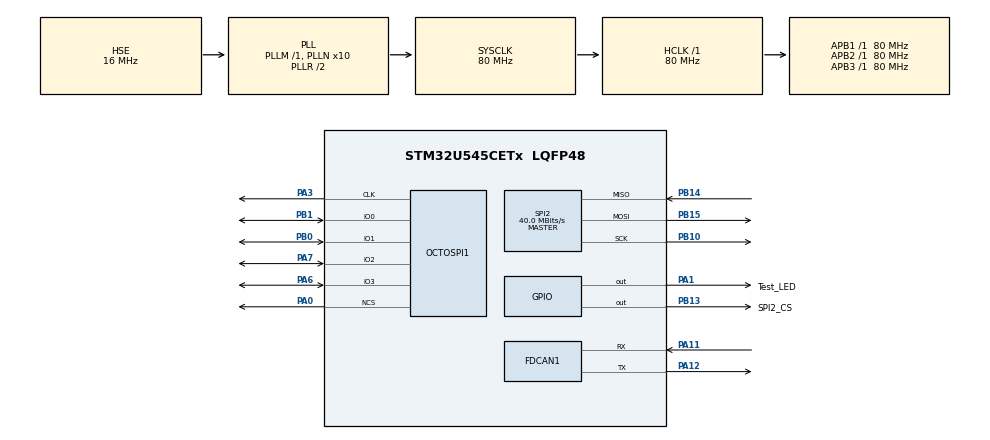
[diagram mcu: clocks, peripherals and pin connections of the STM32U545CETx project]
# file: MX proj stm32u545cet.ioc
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CORTEX_M33_NS.userName=CORTEX_M33
FDCAN1.CalculateBaudRateNominal=500000
FDCAN1.CalculateTimeBitNominal=2000
FDCAN1.CalculateTimeQuantumNominal=200.0
FDCAN1.NominalSyncJumpWidth=4
FDCAN1.NominalTimeSeg1=5
FDCAN1.NominalTimeSeg2=4
Mcu.Family=STM32U5
Mcu.Name=STM32U545CETx
Mcu.Package=LQFP48
NVIC.PriorityGroup=NVIC_PRIORITYGROUP_4
PA0.Mode=quad_mode
PA0.Signal=OCTOSPI1_NCS
PA1.GPIO_Label=Test_LED
PA1.Signal=GPIO_Output
PA11.Mode=FDCAN_Activate
PA11.Signal=FDCAN1_RX
PA12.Mode=FDCAN_Activate
PA12.Signal=FDCAN1_TX
PA13\ (JTMS/SWDIO).Mode=Trace_Asynchronous_SW
PA13\ (JTMS/SWDIO).Signal=DEBUG_JTMS-SWDIO
PA14\ (JTCK/SWCLK).Mode=Trace_Asynchronous_SW
PA14\ (JTCK/SWCLK).Signal=DEBUG_JTCK-SWCLK
PA3.Mode=quad_mode
PA3.Signal=OCTOSPI1_CLK
PA6.Mode=quad_mode
PA6.Signal=OCTOSPI1_IO3
PA7.Mode=quad_mode
PA7.Signal=OCTOSPI1_IO2
PB0.Mode=quad_mode
PB0.Signal=OCTOSPI1_IO1
PB1.Mode=quad_mode
PB1.Signal=OCTOSPI1_IO0
PB10.Mode=Full_Duplex_Master
PB10.Signal=SPI2_SCK
PB13.GPIO_Label=SPI2_CS
PB13.Signal=GPIO_Output
PB14.Mode=Full_Duplex_Master
PB14.Signal=SPI2_MISO
PB15.Mode=Full_Duplex_Master
PB15.Signal=SPI2_MOSI
PB3\ (JTDO/TRACESWO).Mode=Trace_Asynchronous_SW
PB3\ (JTDO/TRACESWO).Signal=DEBUG_JTDO-SWO
PH0-OSC_IN\ (PH0).Mode=HSE-External-Oscillator
PH0-OSC_IN\ (PH0).Signal=RCC_OSC_IN
PH1-OSC_OUT\ (PH1).Mode=HSE-External-Oscillator
PH1-OSC_OUT\ (PH1).Signal=RCC_OSC_OUT
ProjectManager.HeapSize=0x200
ProjectManager.StackSize=0x400
ProjectManager.TargetToolchain=STM32CubeIDE
RCC.ADCFreq_Value=16000000
RCC.AHBFreq_Value=80000000
RCC.APB1Freq_Value=80000000
RCC.APB1TimFreq_Value=80000000
RCC.APB2Freq_Value=80000000
RCC.APB2TimFreq_Value=80000000
RCC.APB3Freq_Value=80000000
RCC.CortexFreq_Value=80000000
RCC.DACCLockSelectionVirtual=RCC_DAC1CLKSOURCE_LSI
RCC.DACCLockSelectionVirtualString=RCC_DAC1CLKSOURCE_LSI
RCC.EPOD_VALUE=16000000
RCC.HCLKFreq_Value=80000000
RCC.HSE_VALUE=16000000
RCC.HSI48_VALUE=48000000
RCC.HSI_VALUE=16000000
RCC.LSE_VALUE=32768
RCC.LSIDIV_VALUE=32000
RCC.MSI_VALUE=4000000
RCC.PLLN=10
RCC.PLLSourceVirtual=RCC_PLLSOURCE_HSE
RCC.SYSCLKFreq_VALUE=80000000
RCC.SYSCLKSource=RCC_SYSCLKSOURCE_PLLCLK
RCC.USBFreq_Value=48000000
RCC.VCOOutputFreq_Value=160000000
SPI2.CalculateBaudRate=40.0 MBits/s
SPI2.Direction=SPI_DIRECTION_2LINES
SPI2.Mode=SPI_MODE_MASTER
SPI2.VirtualType=VM_MASTER
VP_LPBAMQUEUE_VS_QUEUE.Mode=QUEUEMODE
VP_LPBAM_VS_SIG1.Mode=SmartRun
VP_LPBAM_VS_SIG4.Mode=LPDMA1
VP_MEMORYMAP_VS_MEMORYMAP.Mode=CurAppReg
VP_PWR_VS_SECSignals.Mode=Security/Privilege
board=custom

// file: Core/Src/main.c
/* USER CODE BEGIN Header */
/**
  ******************************************************************************
  * @file           : main.c
  * @brief          : Main program body
  ******************************************************************************
  * @attention
  *
  * Copyright (c) 2026 STMicroelectronics.
  * All rights reserved.
  *
  * This software is licensed under terms that can be found in the LICENSE file
  * in the root directory of this software component.
  * If no LICENSE file comes with this software, it is provided AS-IS.
  *
  ******************************************************************************
  */
/* USER CODE END Header */
#include "main.h"

/* USER CODE BEGIN Includes */

#include <stdio.h>

/* USER CODE END Includes */

FDCAN_HandleTypeDef hfdcan1;

OSPI_HandleTypeDef hospi1;

SPI_HandleTypeDef hspi2;

/* USER CODE BEGIN PV */

volatile uint8_t fdcan1RxPending = 0U;
volatile uint32_t fdcan1RxCount = 0U;
volatile uint32_t fdcan1RxFifo0FillLevel = 0U;
FDCAN_RxHeaderTypeDef fdcan1RxHeader;
uint8_t fdcan1RxData[8];
FDCAN_ProtocolStatusTypeDef fdcan1ProtocolStatus;
FDCAN_ErrorCountersTypeDef fdcan1ErrorCounters;

/* USER CODE END PV */

void SystemClock_Config(void);
static void MX_GPIO_Init(void);
static void MX_OCTOSPI1_Init(void);
static void MX_SPI2_Init(void);
static void MX_FDCAN1_Init(void);
/* USER CODE BEGIN PFP */

static void FDCAN1_StartReception(void);
static uint32_t FDCAN_DlcToLength(uint32_t dlc);

/* USER CODE END PFP */

/* USER CODE BEGIN 0 */

int __io_putchar(int ch)
{
  if ((CoreDebug->DEMCR & CoreDebug_DEMCR_TRCENA_Msk) != 0U)
  {
    ITM_SendChar((uint32_t) ch);
  }

  return ch;
}

int _write(int file, char *ptr, int len)
{
  int i;

  (void)file;

  for (i = 0; i < len; i++)
  {
    __io_putchar(ptr[i]);
  }

  return len;
}

static uint32_t FDCAN_DlcToLength(uint32_t dlc)
{
  switch (dlc)
  {
    case FDCAN_DLC_BYTES_0:  return 0U;
    case FDCAN_DLC_BYTES_1:  return 1U;
    case FDCAN_DLC_BYTES_2:  return 2U;
    case FDCAN_DLC_BYTES_3:  return 3U;
    case FDCAN_DLC_BYTES_4:  return 4U;
    case FDCAN_DLC_BYTES_5:  return 5U;
    case FDCAN_DLC_BYTES_6:  return 6U;
    case FDCAN_DLC_BYTES_7:  return 7U;
    case FDCAN_DLC_BYTES_8:  return 8U;
    default:                 return 0U;
  }
}

static void FDCAN1_StartReception(void)
{
  if (HAL_FDCAN_ConfigGlobalFilter(&hfdcan1,
                                   FDCAN_ACCEPT_IN_RX_FIFO0,
                                   FDCAN_ACCEPT_IN_RX_FIFO0,
                                   FDCAN_REJECT_REMOTE,
                                   FDCAN_REJECT_REMOTE) != HAL_OK)
  {
    Error_Handler();
  }

  if (HAL_FDCAN_ConfigInterruptLines(&hfdcan1,
                                     FDCAN_IT_RX_FIFO0_NEW_MESSAGE,
                                     FDCAN_INTERRUPT_LINE0) != HAL_OK)
  {
    Error_Handler();
  }

  if (HAL_FDCAN_ActivateNotification(&hfdcan1,
                                     FDCAN_IT_RX_FIFO0_NEW_MESSAGE,
                                     0U) != HAL_OK)
  {
    Error_Handler();
  }

  if (HAL_FDCAN_Start(&hfdcan1) != HAL_OK)
  {
    Error_Handler();
  }
}

void HAL_FDCAN_RxFifo0Callback(FDCAN_HandleTypeDef *hfdcan, uint32_t RxFifo0ITs)
{
  if ((hfdcan->Instance == FDCAN1) && ((RxFifo0ITs & FDCAN_IT_RX_FIFO0_NEW_MESSAGE) != 0U))
  {
    if (HAL_FDCAN_GetRxMessage(hfdcan, FDCAN_RX_FIFO0, &fdcan1RxHeader, fdcan1RxData) == HAL_OK)
    {
      fdcan1RxCount++;
      fdcan1RxPending = 1U;
    }
  }
}

/* USER CODE END 0 */

int main(void)
{

  /* MCU Configuration--------------------------------------------------------*/

  /* Reset of all peripherals, Initializes the Flash interface and the Systick. */
  HAL_Init();

  /* Configure the system clock */
  SystemClock_Config();

  /* Initialize all configured peripherals */
  MX_GPIO_Init();
  MX_OCTOSPI1_Init();
  MX_SPI2_Init();
  MX_FDCAN1_Init();
  /* USER CODE BEGIN 2 */

  FDCAN1_StartReception();
  printf("SWV online, waiting for CAN frames...\r\n");
  //HAL_GPIO_TogglePin(Test_LED_GPIO_Port, Test_LED_Pin);
////  HAL_Delay(1000);
//  HAL_GPIO_TogglePin(Test_LED_GPIO_Port, Test_LED_Pin);
  /* USER CODE END 2 */

  /* Infinite loop */
  while (1)
  {

    /* USER CODE BEGIN 3 */
//	  HAL_GPIO_TogglePin(Test_LED_GPIO_Port, Test_LED_Pin);
//	    HAL_Delay(1000);
    fdcan1RxFifo0FillLevel = HAL_FDCAN_GetRxFifoFillLevel(&hfdcan1, FDCAN_RX_FIFO0);
    (void)HAL_FDCAN_GetProtocolStatus(&hfdcan1, &fdcan1ProtocolStatus);
    (void)HAL_FDCAN_GetErrorCounters(&hfdcan1, &fdcan1ErrorCounters);

    if (fdcan1RxFifo0FillLevel > 0U)
    {
      if (HAL_FDCAN_GetRxMessage(&hfdcan1, FDCAN_RX_FIFO0, &fdcan1RxHeader, fdcan1RxData) == HAL_OK)
      {
        fdcan1RxCount++;
        fdcan1RxPending = 1U;
      }
    }

    if (fdcan1RxPending != 0U)
    {
      uint32_t dataLength;
      uint32_t i;

      dataLength = FDCAN_DlcToLength(fdcan1RxHeader.DataLength);

      fdcan1RxPending = 0U;
      HAL_GPIO_TogglePin(Test_LED_GPIO_Port, Test_LED_Pin);

      if (fdcan1RxHeader.Identifier == 0x00000100) {

		  printf("CAN %s ID=0x%08lX LEN=%lu DATA=",
				 (fdcan1RxHeader.IdType == FDCAN_STANDARD_ID) ? "STD" : "EXT",
				 fdcan1RxHeader.Identifier,
				 dataLength);

		  for (i = 0U; i <= dataLength; i++)
		  {
			printf("%02X", fdcan1RxData[i]);

			if ((i + 1U) < dataLength)
			{
			  printf(" ");
			}
		  }

		  printf("\r\n");
      }
    }
  }
  /* USER CODE END 3 */
}

void SystemClock_Config(void)
{
  RCC_OscInitTypeDef RCC_OscInitStruct = {0};
  RCC_ClkInitTypeDef RCC_ClkInitStruct = {0};

  /** Configure the main internal regulator output voltage
  */
  if (HAL_PWREx_ControlVoltageScaling(PWR_REGULATOR_VOLTAGE_SCALE2) != HAL_OK)
  {
    Error_Handler();
  }

  /** Initializes the CPU, AHB and APB buses clocks
  */
  RCC_OscInitStruct.OscillatorType = RCC_OSCILLATORTYPE_HSE;
  RCC_OscInitStruct.HSEState = RCC_HSE_ON;
  RCC_OscInitStruct.PLL.PLLState = RCC_PLL_ON;
  RCC_OscInitStruct.PLL.PLLSource = RCC_PLLSOURCE_HSE;
  RCC_OscInitStruct.PLL.PLLMBOOST = RCC_PLLMBOOST_DIV1;
  RCC_OscInitStruct.PLL.PLLM = 1;
  RCC_OscInitStruct.PLL.PLLN = 10;
  RCC_OscInitStruct.PLL.PLLP = 2;
  RCC_OscInitStruct.PLL.PLLQ = 2;
  RCC_OscInitStruct.PLL.PLLR = 2;
  RCC_OscInitStruct.PLL.PLLRGE = RCC_PLLVCIRANGE_1;
  RCC_OscInitStruct.PLL.PLLFRACN = 0;
  if (HAL_RCC_OscConfig(&RCC_OscInitStruct) != HAL_OK)
  {
    Error_Handler();
  }

  /** Initializes the CPU, AHB and APB buses clocks
  */
  RCC_ClkInitStruct.ClockType = RCC_CLOCKTYPE_HCLK|RCC_CLOCKTYPE_SYSCLK
                              |RCC_CLOCKTYPE_PCLK1|RCC_CLOCKTYPE_PCLK2
                              |RCC_CLOCKTYPE_PCLK3;
  RCC_ClkInitStruct.SYSCLKSource = RCC_SYSCLKSOURCE_PLLCLK;
  RCC_ClkInitStruct.AHBCLKDivider = RCC_SYSCLK_DIV1;
  RCC_ClkInitStruct.APB1CLKDivider = RCC_HCLK_DIV1;
  RCC_ClkInitStruct.APB2CLKDivider = RCC_HCLK_DIV1;
  RCC_ClkInitStruct.APB3CLKDivider = RCC_HCLK_DIV1;

  if (HAL_RCC_ClockConfig(&RCC_ClkInitStruct, FLASH_LATENCY_2) != HAL_OK)
  {
    Error_Handler();
  }
}

static void MX_FDCAN1_Init(void)
{

  hfdcan1.Instance = FDCAN1;
  hfdcan1.Init.ClockDivider = FDCAN_CLOCK_DIV1;
  hfdcan1.Init.FrameFormat = FDCAN_FRAME_CLASSIC;
  hfdcan1.Init.Mode = FDCAN_MODE_NORMAL;
  hfdcan1.Init.AutoRetransmission = DISABLE;
  hfdcan1.Init.TransmitPause = DISABLE;
  hfdcan1.Init.ProtocolException = DISABLE;
  hfdcan1.Init.NominalPrescaler = 16;
  hfdcan1.Init.NominalSyncJumpWidth = 4;
  hfdcan1.Init.NominalTimeSeg1 = 5;
  hfdcan1.Init.NominalTimeSeg2 = 4;
  hfdcan1.Init.DataPrescaler = 1;
  hfdcan1.Init.DataSyncJumpWidth = 1;
  hfdcan1.Init.DataTimeSeg1 = 1;
  hfdcan1.Init.DataTimeSeg2 = 1;
  hfdcan1.Init.StdFiltersNbr = 0;
  hfdcan1.Init.ExtFiltersNbr = 0;
  hfdcan1.Init.TxFifoQueueMode = FDCAN_TX_FIFO_OPERATION;
  if (HAL_FDCAN_Init(&hfdcan1) != HAL_OK)
  {
    Error_Handler();
  }

}

static void MX_OCTOSPI1_Init(void)
{

  /* OCTOSPI1 parameter configuration*/
  hospi1.Instance = OCTOSPI1;
  hospi1.Init.FifoThreshold = 1;
  hospi1.Init.DualQuad = HAL_OSPI_DUALQUAD_DISABLE;
  hospi1.Init.MemoryType = HAL_OSPI_MEMTYPE_MICRON;
  hospi1.Init.DeviceSize = 32;
  hospi1.Init.ChipSelectHighTime = 1;
  hospi1.Init.FreeRunningClock = HAL_OSPI_FREERUNCLK_DISABLE;
  hospi1.Init.ClockMode = HAL_OSPI_CLOCK_MODE_0;
  hospi1.Init.WrapSize = HAL_OSPI_WRAP_NOT_SUPPORTED;
  hospi1.Init.ClockPrescaler = 1;
  hospi1.Init.SampleShifting = HAL_OSPI_SAMPLE_SHIFTING_NONE;
  hospi1.Init.DelayHoldQuarterCycle = HAL_OSPI_DHQC_DISABLE;
  hospi1.Init.ChipSelectBoundary = 0;
  hospi1.Init.MaxTran = 0;
  hospi1.Init.Refresh = 0;
  if (HAL_OSPI_Init(&hospi1) != HAL_OK)
  {
    Error_Handler();
  }

}

static void MX_SPI2_Init(void)
{

  SPI_AutonomousModeConfTypeDef HAL_SPI_AutonomousMode_Cfg_Struct = {0};

  /* SPI2 parameter configuration*/
  hspi2.Instance = SPI2;
  hspi2.Init.Mode = SPI_MODE_MASTER;
  hspi2.Init.Direction = SPI_DIRECTION_2LINES;
  hspi2.Init.DataSize = SPI_DATASIZE_4BIT;
  hspi2.Init.CLKPolarity = SPI_POLARITY_LOW;
  hspi2.Init.CLKPhase = SPI_PHASE_1EDGE;
  hspi2.Init.NSS = SPI_NSS_SOFT;
  hspi2.Init.BaudRatePrescaler = SPI_BAUDRATEPRESCALER_2;
  hspi2.Init.FirstBit = SPI_FIRSTBIT_MSB;
  hspi2.Init.TIMode = SPI_TIMODE_DISABLE;
  hspi2.Init.CRCCalculation = SPI_CRCCALCULATION_DISABLE;
  hspi2.Init.CRCPolynomial = 0x7;
  hspi2.Init.NSSPMode = SPI_NSS_PULSE_ENABLE;
  hspi2.Init.NSSPolarity = SPI_NSS_POLARITY_LOW;
  hspi2.Init.FifoThreshold = SPI_FIFO_THRESHOLD_01DATA;
  hspi2.Init.MasterSSIdleness = SPI_MASTER_SS_IDLENESS_00CYCLE;
  hspi2.Init.MasterInterDataIdleness = SPI_MASTER_INTERDATA_IDLENESS_00CYCLE;
  hspi2.Init.MasterReceiverAutoSusp = SPI_MASTER_RX_AUTOSUSP_DISABLE;
  hspi2.Init.MasterKeepIOState = SPI_MASTER_KEEP_IO_STATE_DISABLE;
  hspi2.Init.IOSwap = SPI_IO_SWAP_DISABLE;
  hspi2.Init.ReadyMasterManagement = SPI_RDY_MASTER_MANAGEMENT_INTERNALLY;
  hspi2.Init.ReadyPolarity = SPI_RDY_POLARITY_HIGH;
  if (HAL_SPI_Init(&hspi2) != HAL_OK)
  {
    Error_Handler();
  }
  HAL_SPI_AutonomousMode_Cfg_Struct.TriggerState = SPI_AUTO_MODE_DISABLE;
  HAL_SPI_AutonomousMode_Cfg_Struct.TriggerSelection = SPI_GRP1_GPDMA_CH0_TCF_TRG;
  HAL_SPI_AutonomousMode_Cfg_Struct.TriggerPolarity = SPI_TRIG_POLARITY_RISING;
  if (HAL_SPIEx_SetConfigAutonomousMode(&hspi2, &HAL_SPI_AutonomousMode_Cfg_Struct) != HAL_OK)
  {
    Error_Handler();
  }

}

static void MX_GPIO_Init(void)
{
  GPIO_InitTypeDef GPIO_InitStruct = {0};

  /* GPIO Ports Clock Enable */
  __HAL_RCC_GPIOH_CLK_ENABLE();
  __HAL_RCC_GPIOA_CLK_ENABLE();
  __HAL_RCC_GPIOB_CLK_ENABLE();

  /*Configure GPIO pin Output Level */
  HAL_GPIO_WritePin(Test_LED_GPIO_Port, Test_LED_Pin, GPIO_PIN_RESET);

  /*Configure GPIO pin Output Level */
  HAL_GPIO_WritePin(SPI2_CS_GPIO_Port, SPI2_CS_Pin, GPIO_PIN_RESET);

  /*Configure GPIO pin : Test_LED_Pin */
  GPIO_InitStruct.Pin = Test_LED_Pin;
  GPIO_InitStruct.Mode = GPIO_MODE_OUTPUT_PP;
  GPIO_InitStruct.Pull = GPIO_NOPULL;
  GPIO_InitStruct.Speed = GPIO_SPEED_FREQ_LOW;
  HAL_GPIO_Init(Test_LED_GPIO_Port, &GPIO_InitStruct);

  /*Configure GPIO pin : SPI2_CS_Pin */
  GPIO_InitStruct.Pin = SPI2_CS_Pin;
  GPIO_InitStruct.Mode = GPIO_MODE_OUTPUT_PP;
  GPIO_InitStruct.Pull = GPIO_NOPULL;
  GPIO_InitStruct.Speed = GPIO_SPEED_FREQ_LOW;
  HAL_GPIO_Init(SPI2_CS_GPIO_Port, &GPIO_InitStruct);

}

void Error_Handler(void)
{
  __disable_irq();
  while (1)
  {
  }
}
